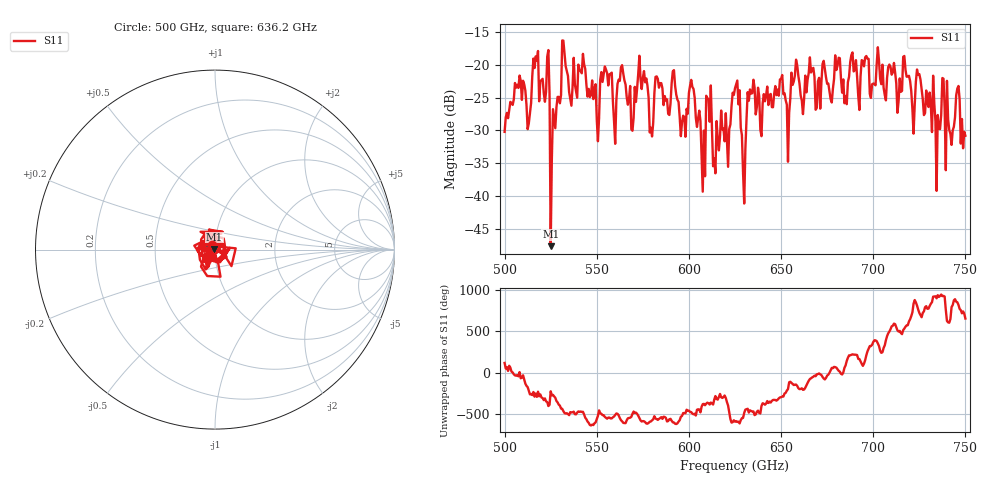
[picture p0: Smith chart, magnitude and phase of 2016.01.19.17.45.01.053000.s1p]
!Created with skrf (http://scikit-rf.org).
# GHz S RI R 50.0
!freq ReS11 ImS11
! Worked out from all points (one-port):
!   401 points, 500 GHz to 750 GHz, reference 50 ohm
!   lowest |S11| = -47.7 dB at 525 GHz (marker M1), VSWR 1.01, Z = 49.7 + j0.297 ohm
!   |S11| at or under -10 dB: start of sweep to end of sweep
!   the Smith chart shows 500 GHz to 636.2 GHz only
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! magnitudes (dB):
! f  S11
! 500 GHz  -30.2
! 506.9 GHz  -23.0
! 513.1 GHz  -28.9
! 516.9 GHz  -18.7
! 523.1 GHz  -18.7
! 525 GHz  -47.7
! 526.2 GHz  -26.8
! 531.2 GHz  -16.3
! 550 GHz  -28.3
! 562.5 GHz  -22.4
! 570 GHz  -28.0
! 576.2 GHz  -22.6
! 579.4 GHz  -29.6
! 583.1 GHz  -22.1
! 593.8 GHz  -25.3
! 601.9 GHz  -23.4
! 607.5 GHz  -39.4
! 610.6 GHz  -25.2
! 614.4 GHz  -36.5
! 625 GHz  -23.6
! 629.4 GHz  -36.5
! 634.4 GHz  -24.3
! 653.8 GHz  -34.8
! 656.2 GHz  -23.1
! 687.5 GHz  -19.6
! 718.8 GHz  -21.8
! 745.6 GHz  -23.6
! 750 GHz  -30.8
